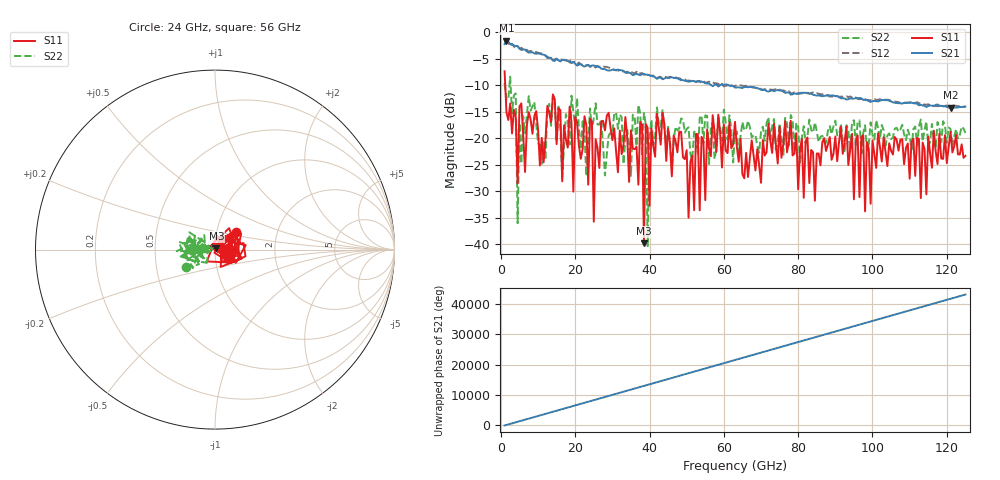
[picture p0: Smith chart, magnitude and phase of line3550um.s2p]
! Created with skrf 2.1.0 (http://scikit-rf.org).
# GHz S RI R 50.0
!freq ReS11 ImS11 ReS21 ImS21 ReS12 ImS12 ReS22 ImS22
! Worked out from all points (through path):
!   249 points, 1 GHz to 125 GHz, reference 50 ohm
!   highest |S21| = -1.63 dB at 1.5 GHz (marker M1); lowest = -14.3 dB at 121 GHz (marker M2)
!   lowest |S11| = -39.8 dB at 38.5 GHz (marker M3), VSWR 1.02, Z = 50.8 + j0.636 ohm
!   |S11| at or under -10 dB: 1.169 GHz to end of sweep
!   |S22| runs from -40.3 to -8.4 dB; largest |S21 - S12| = 0.1
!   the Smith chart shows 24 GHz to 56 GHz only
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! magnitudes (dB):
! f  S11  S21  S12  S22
! 1 GHz  -7.4  -2.3  -1.6  -9.6
! 1.5 GHz  -15.1  -1.6  -1.6  -12.7
! 4 GHz  -16.0  -2.7  -2.9  -11.6
! 4.5 GHz  -28.5  -2.6  -2.7  -36.0
! 5 GHz  -14.0  -3.0  -3.1  -17.1
! 7.5 GHz  -15.1  -3.9  -3.7  -12.1
! 22 GHz  -22.0  -6.3  -6.1  -16.8
! 24.5 GHz  -17.0  -6.3  -6.5  -18.3
! 25 GHz  -35.7  -6.3  -6.4  -16.2
! 27 GHz  -16.8  -6.9  -6.6  -16.4
! 37.5 GHz  -16.9  -8.1  -7.8  -15.3
! 38.5 GHz  -39.8  -7.9  -8.0  -15.2
! 39.5 GHz  -18.0  -8.0  -8.1  -40.3
! 40 GHz  -32.7  -8.1  -8.1  -19.8
! 42.5 GHz  -18.0  -8.6  -8.5  -17.4
! 50.5 GHz  -35.0  -9.3  -9.1  -18.0
! 52.5 GHz  -19.2  -9.3  -9.4  -18.9
! 63 GHz  -16.9  -10.4  -10.1  -18.8
! 84 GHz  -22.6  -11.8  -11.4  -18.9
! 104.5 GHz  -20.9  -12.9  -12.8  -19.1
! 121 GHz  -18.8  -14.3  -13.8  -18.2
! 125 GHz  -23.3  -14.0  -14.2  -19.0
